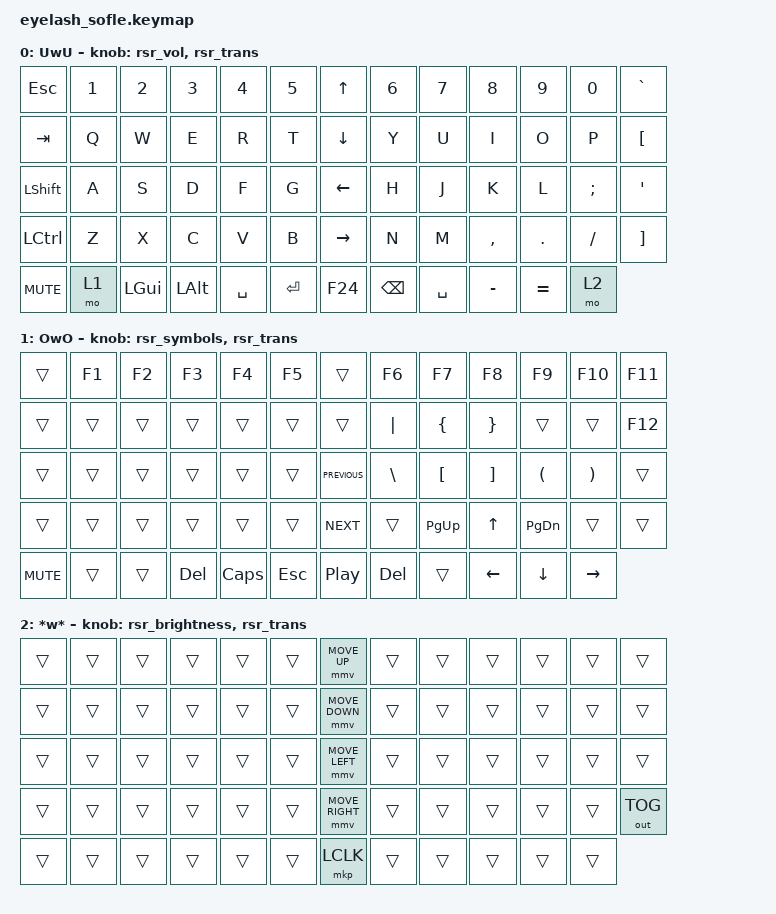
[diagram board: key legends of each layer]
#include <input/processors.dtsi>
#include <zephyr/dt-bindings/input/input-event-codes.h>
#include <behaviors.dtsi>
#include <dt-bindings/zmk/bt.h>
#include <dt-bindings/zmk/keys.h>
#include <dt-bindings/zmk/outputs.h>
#include <dt-bindings/zmk/pointing.h>
#include <dt-bindings/zmk/rgb.h>
#include <behaviors/runtime-sensor-rotate.dtsi>

/ {
    zip_scroll_scaler: zip_scroll_scaler {
        compatible = "zmk,input-processor-scaler";
        #input-processor-cells = <2>;
        type = <INPUT_EV_REL>;
        codes = <INPUT_REL_WHEEL INPUT_REL_HWHEEL>;
        track-remainders;
    };
};

&mmv_input_listener { input-processors = <&zip_xy_scaler 2 1>; };

&msc_input_listener { input-processors = <&zip_scroll_scaler 2 1>; };

&msc {
    acceleration-exponent = <0>;      // 0
    time-to-max-speed-ms = <0>;       // 300
    delay-ms = <0>;                   // 0
};

&mmv {
    time-to-max-speed-ms = <400>;
    acceleration-exponent = <1>;
};

&soft_off { hold-time-ms = <2000>; };

/ {
    behaviors {
        rsr_vol: rsr_vol {
            compatible = "zmk,behavior-runtime-sensor-rotate";
            #sensor-binding-cells = <0>;
            tap-ms = <5>;
            cw-binding = <&kp C_VOL_UP>;
            ccw-binding = <&kp C_VOL_DN>;
        };

        rsr_symbols: rsr_symbols {
            compatible = "zmk,behavior-runtime-sensor-rotate";
            #sensor-binding-cells = <0>;
            tap-ms = <5>;
            cw-binding = <&kp PERIOD>;
            ccw-binding = <&kp SLASH>;
        };

        rsr_brightness: rsr_brightness {
            compatible = "zmk,behavior-runtime-sensor-rotate";
            #sensor-binding-cells = <0>;
            tap-ms = <5>;
            cw-binding = <&kp C_BRIGHTNESS_INC>;
            ccw-binding = <&kp C_BRIGHTNESS_DEC>;
        };

        rsr_trans: rsr_trans {
            compatible = "zmk,behavior-runtime-sensor-rotate";
            #sensor-binding-cells = <0>;
            tap-ms = <0>;
        };
    };

    macros {
        shift_MB3: shift_MB3 {
            compatible = "zmk,behavior-macro";
            #binding-cells = <0>;
            bindings =
                <&macro_press>,
                <&kp LEFT_SHIFT>,
                <&macro_press>,
                <&mkp MB3>,
                <&macro_pause_for_release>,
                <&macro_release>,
                <&mkp MB3 &kp LEFT_SHIFT>;

            label = "SHIFT_MB3";
        };
    };

    combos {
        compatible = "zmk,combos";

        softoff {
            bindings = <&soft_off>;
            key-positions = <14 28 40>;
        };
    };

    keymap {
        compatible = "zmk,keymap";

        L0 {
            bindings = <
&kp ESC         &kp N1  &kp N2        &kp N3        &kp N4     &kp N5     &kp UP_ARROW     &kp N6    &kp N7     &kp N8     &kp N9     &kp N0    &kp GRAVE
&kp TAB         &kp Q   &kp W         &kp E         &kp R      &kp T      &kp DOWN         &kp Y     &kp U      &kp I      &kp O      &kp P     &kp LEFT_BRACKET
&kp LEFT_SHIFT  &kp A   &kp S         &kp D         &kp F      &kp G      &kp LEFT_ARROW   &kp H     &kp J      &kp K      &kp L      &kp SEMI  &kp SQT
&kp LCTRL       &kp Z   &kp X         &kp C         &kp V      &kp B      &kp RIGHT_ARROW  &kp N     &kp M      &kp COMMA  &kp DOT    &kp FSLH  &kp RBKT
&kp C_MUTE      &mo 1   &kp LEFT_GUI  &kp LEFT_ALT  &kp SPACE  &kp RET    &kp F24          &kp BSPC  &kp SPACE  &kp MINUS  &kp EQUAL  &mo 2
            >;

            sensor-bindings = <&rsr_vol &rsr_trans>;
            display-name = "UwU";
        };

        L1 {
            bindings = <
&trans      &kp F1  &kp F2  &kp F3   &kp F4        &kp F5     &trans            &kp F6         &kp F7            &kp F8             &kp F9                &kp F10                &kp F11
&trans      &trans  &trans  &trans   &trans        &trans     &trans            &kp PIPE       &kp LEFT_BRACE    &kp RIGHT_BRACE    &trans                &trans                 &kp F12
&trans      &trans  &trans  &trans   &trans        &trans     &kp C_PREVIOUS    &kp BACKSLASH  &kp LEFT_BRACKET  &kp RIGHT_BRACKET  &kp LEFT_PARENTHESIS  &kp RIGHT_PARENTHESIS  &trans
&trans      &trans  &trans  &trans   &trans        &trans     &kp C_NEXT        &trans         &kp PAGE_UP       &kp UP_ARROW       &kp PAGE_DOWN         &trans                 &trans
&kp C_MUTE  &trans  &trans  &kp DEL  &kp CAPSLOCK  &kp ESC    &kp C_PLAY_PAUSE  &kp DEL        &trans            &kp LEFT           &kp DOWN              &kp RIGHT
            >;

            display-name = "OwO";
            sensor-bindings = <&rsr_symbols &rsr_trans>;
        };

        L2 {
            bindings = <
&trans  &trans  &trans  &trans  &trans  &trans    &mmv MOVE_UP     &trans  &trans  &trans  &trans  &trans  &trans
&trans  &trans  &trans  &trans  &trans  &trans    &mmv MOVE_DOWN   &trans  &trans  &trans  &trans  &trans  &trans
&trans  &trans  &trans  &trans  &trans  &trans    &mmv MOVE_LEFT   &trans  &trans  &trans  &trans  &trans  &trans
&trans  &trans  &trans  &trans  &trans  &trans    &mmv MOVE_RIGHT  &trans  &trans  &trans  &trans  &trans  &out OUT_TOG
&trans  &trans  &trans  &trans  &trans  &trans    &mkp LCLK        &trans  &trans  &trans  &trans  &trans
            >;

            sensor-bindings = <&rsr_brightness &rsr_trans>;
            display-name = "*w*";
        };
    };
};
